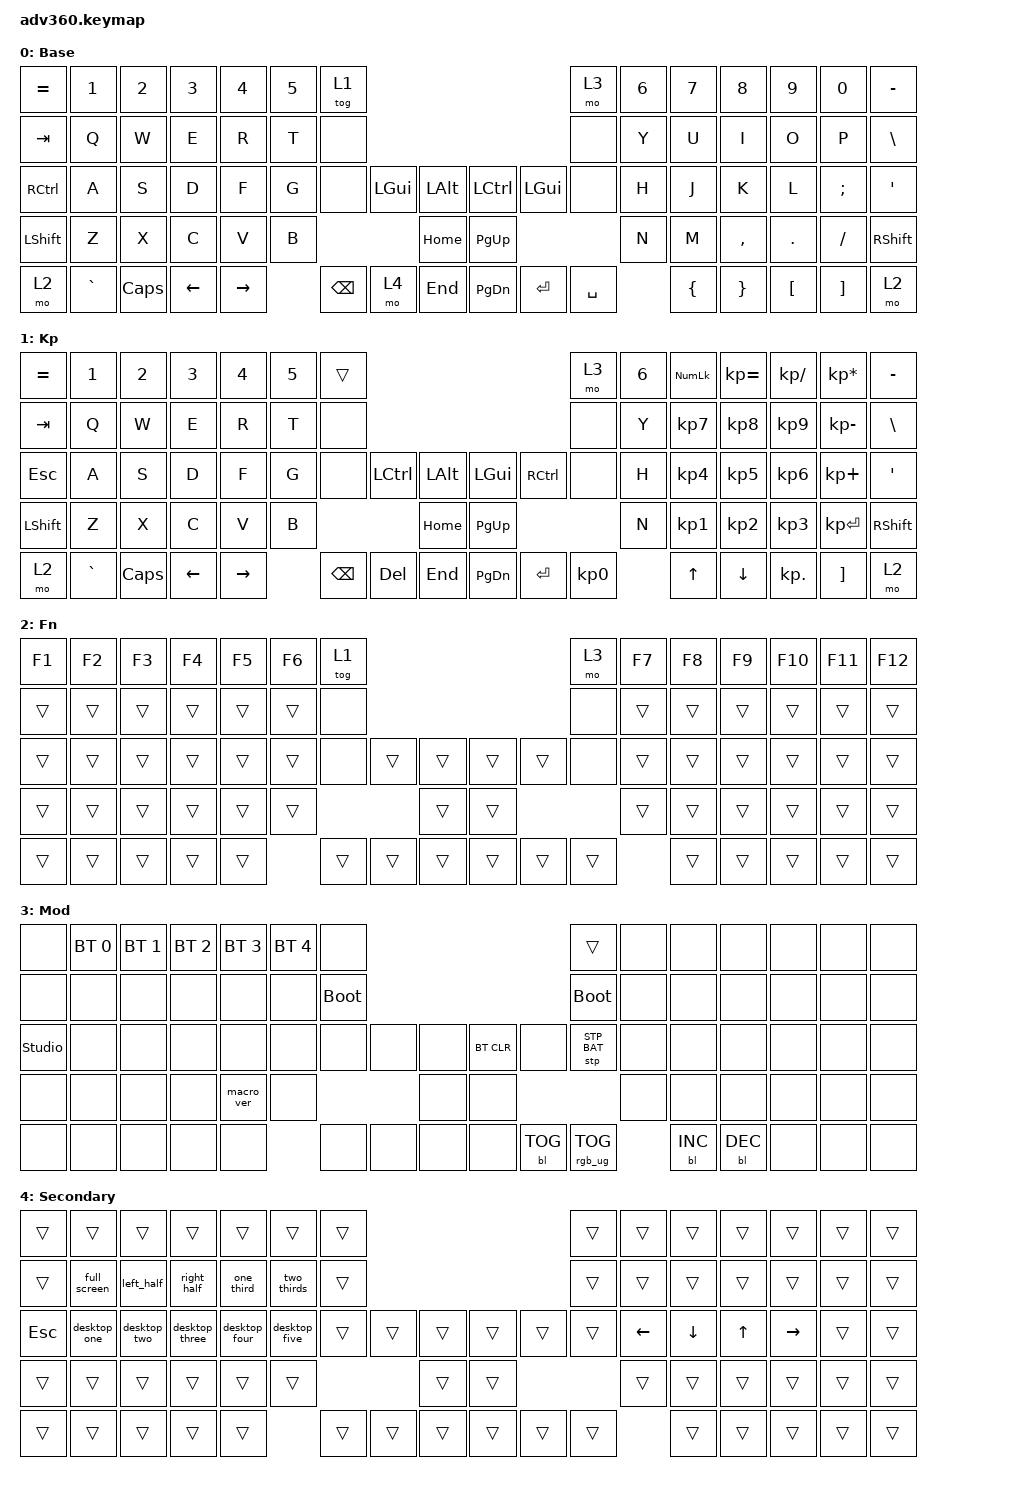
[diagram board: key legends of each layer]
#include <dt-bindings/zmk/stp.h>
#include <behaviors.dtsi>
#include <dt-bindings/zmk/backlight.h>
#include <dt-bindings/zmk/bt.h>
#include <dt-bindings/zmk/keys.h>
#include <dt-bindings/zmk/rgb.h>

/ {
    behaviors {
        #include "macros.dtsi"
      #include "version.dtsi"

        hm: homerow_mods {
            compatible = "zmk,behavior-hold-tap";
            label = "HOMEROW_MODS";
            #binding-cells = <2>;
            tapping-term-ms = <200>;
            quick_tap_ms = <175>;
            flavor = "tap-preferred";
            bindings = <&kp>, <&kp>;
        };
    };

    macros {
        desktop_one: desktop_one {
            compatible = "zmk,behavior-macro";
            #binding-cells = <0>;
            bindings = <&kp LC(LG(Y))>;
            label = "DESKTOP_ONE";
        };

        desktop_two: desktop_two {
            compatible = "zmk,behavior-macro";
            #binding-cells = <0>;
            bindings = <&kp LC(LG(U))>;
            label = "DESKTOP_TWO";
        };

        desktop_three: desktop_three {
            compatible = "zmk,behavior-macro";
            #binding-cells = <0>;
            bindings = <&kp LC(LG(I))>;
            label = "DESKTOP_THREE";
        };

        desktop_four: desktop_4 {
            compatible = "zmk,behavior-macro";
            #binding-cells = <0>;
            bindings = <&kp LC(LG(O))>;
            label = "DESKTOP_4";
        };

        desktop_five: desktop_five {
            compatible = "zmk,behavior-macro";
            #binding-cells = <0>;
            bindings = <&kp LC(LG(P))>;
            label = "DESKTOP_FIVE";
        };

        desktop_six: deskcopt_six {
            compatible = "zmk,behavior-macro";
            #binding-cells = <0>;
            bindings = <&kp LC(LG(LEFT_BRACKET))>;
            label = "DESKCOPT_SIX";
        };

        full_screen: full_screen {
            compatible = "zmk,behavior-macro";
            #binding-cells = <0>;
            bindings = <&kp LA(LC(LG(Y)))>;
            label = "FULL_SCREEN";
        };

        left_half: left_half {
            compatible = "zmk,behavior-macro";
            #binding-cells = <0>;
            bindings = <&kp LA(LC(LG(U)))>;
            label = "LEFT_HALF";
        };

        right_half: right_half {
            compatible = "zmk,behavior-macro";
            #binding-cells = <0>;
            bindings = <&kp LG(LA(LC(I)))>;
            label = "RIGHT_HALF";
        };

        two_thirds: two_thirds {
            compatible = "zmk,behavior-macro";
            #binding-cells = <0>;
            bindings = <&kp LA(LC(LG(P)))>;
            label = "TWO_THIRDS";
        };

        one_third: one_third {
            compatible = "zmk,behavior-macro";
            #binding-cells = <0>;
            bindings = <&kp LA(LC(LG(O)))>;
            label = "ONE_THIRD";
        };
    };

    keymap {
        compatible = "zmk,keymap";

        default_layer {
            display-name = "Base";
            bindings = <
&kp EQUAL  &kp N1     &kp N2    &kp N3    &kp N4     &kp N5  &tog 1                                                  &mo 3      &kp N6  &kp N7          &kp N8           &kp N9    &kp N0    &kp MINUS
&kp TAB    &kp Q      &kp W     &kp E     &kp R      &kp T   &none                                                   &none      &kp Y   &kp U           &kp I            &kp O     &kp P     &kp BSLH
&kp RCTRL  &kp A      &kp S     &kp D     &kp F      &kp G   &none     &kp LGUI  &kp LALT      &kp LCTRL  &kp LGUI   &none      &kp H   &kp J           &kp K            &kp L     &kp SEMI  &kp SQT
&kp LSHFT  &kp Z      &kp X     &kp C     &kp V      &kp B                       &kp HOME      &kp PG_UP                        &kp N   &kp M           &kp COMMA        &kp DOT   &kp FSLH  &kp RSHFT
&mo 2      &kp GRAVE  &kp CAPS  &kp LEFT  &kp RIGHT          &kp BSPC  &mo 4     &kp END       &kp PG_DN  &kp ENTER  &kp SPACE          &kp LEFT_BRACE  &kp RIGHT_BRACE  &kp LBKT  &kp RBKT  &mo 2
            >;
        };

        keypad {
            display-name = "Kp";
            bindings = <
&kp EQUAL  &kp N1     &kp N2    &kp N3    &kp N4     &kp N5  &trans                                                   &mo 3      &kp N6  &kp KP_NUM  &kp KP_EQUAL  &kp KP_DIVIDE  &kp KP_MULTIPLY  &kp MINUS
&kp TAB    &kp Q      &kp W     &kp E     &kp R      &kp T   &none                                                    &none      &kp Y   &kp KP_N7   &kp KP_N8     &kp KP_N9      &kp KP_MINUS     &kp BSLH
&kp ESC    &kp A      &kp S     &kp D     &kp F      &kp G   &none     &kp LCTRL  &kp LALT      &kp LGUI   &kp RCTRL  &none      &kp H   &kp KP_N4   &kp KP_N5     &kp KP_N6      &kp KP_PLUS      &kp SQT
&kp LSHFT  &kp Z      &kp X     &kp C     &kp V      &kp B                        &kp HOME      &kp PG_UP                        &kp N   &kp KP_N1   &kp KP_N2     &kp KP_N3      &kp KP_ENTER     &kp RSHFT
&mo 2      &kp GRAVE  &kp CAPS  &kp LEFT  &kp RIGHT          &kp BSPC  &kp DEL    &kp END       &kp PG_DN  &kp ENTER  &kp KP_N0          &kp UP      &kp DOWN      &kp KP_DOT     &kp RBKT         &mo 2
            >;
        };

        fn {
            display-name = "Fn";
            bindings = <
&kp F1  &kp F2  &kp F3  &kp F4  &kp F5  &kp F6  &tog 1                                      &mo 3   &kp F7  &kp F8  &kp F9  &kp F10  &kp F11  &kp F12
&trans  &trans  &trans  &trans  &trans  &trans  &none                                       &none   &trans  &trans  &trans  &trans   &trans   &trans
&trans  &trans  &trans  &trans  &trans  &trans  &none   &trans  &trans      &trans  &trans  &none   &trans  &trans  &trans  &trans   &trans   &trans
&trans  &trans  &trans  &trans  &trans  &trans                  &trans      &trans                  &trans  &trans  &trans  &trans   &trans   &trans
&trans  &trans  &trans  &trans  &trans          &trans  &trans  &trans      &trans  &trans  &trans          &trans  &trans  &trans   &trans   &trans
            >;
        };

        mod {
            display-name = "Mod";
            bindings = <
&none           &bt BT_SEL 0  &bt BT_SEL 1  &bt BT_SEL 2  &bt BT_SEL 3  &bt BT_SEL 4  &none                                                  &trans           &none  &none       &none       &none  &none  &none
&none           &none         &none         &none         &none         &none         &bootloader                                            &bootloader      &none  &none       &none       &none  &none  &none
&studio_unlock  &none         &none         &none         &none         &none         &none        &none  &none      &bt BT_CLR  &none       &stp STP_BAT     &none  &none       &none       &none  &none  &none
&none           &none         &none         &none         &macro_ver    &none                             &none      &none                                    &none  &none       &none       &none  &none  &none
&none           &none         &none         &none         &none                       &none        &none  &none      &none       &bl BL_TOG  &rgb_ug RGB_TOG         &bl BL_INC  &bl BL_DEC  &none  &none  &none
            >;
        };

        Secondary {
            bindings = <
&trans   &trans        &trans        &trans          &trans         &trans         &trans                                      &trans  &trans    &trans    &trans  &trans     &trans  &trans
&trans   &full_screen  &left_half    &right_half     &one_third     &two_thirds    &trans                                      &trans  &trans    &trans    &trans  &trans     &trans  &trans
&kp ESC  &desktop_one  &desktop_two  &desktop_three  &desktop_four  &desktop_five  &trans  &trans  &trans      &trans  &trans  &trans  &kp LEFT  &kp DOWN  &kp UP  &kp RIGHT  &trans  &trans
&trans   &trans        &trans        &trans          &trans         &trans                         &trans      &trans                  &trans    &trans    &trans  &trans     &trans  &trans
&trans   &trans        &trans        &trans          &trans                        &trans  &trans  &trans      &trans  &trans  &trans            &trans    &trans  &trans     &trans  &trans
            >;
        };
    };
};
